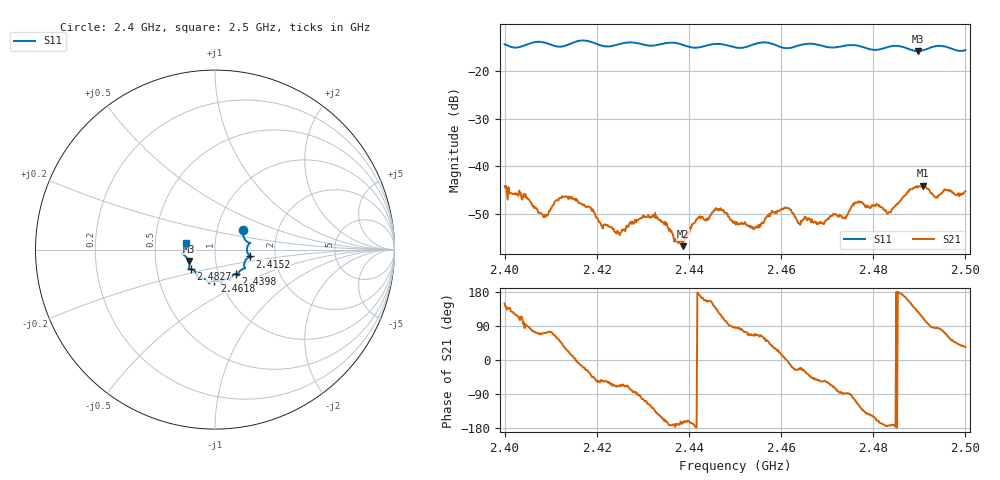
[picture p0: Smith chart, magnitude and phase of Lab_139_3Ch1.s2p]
# Hz S RI R 50
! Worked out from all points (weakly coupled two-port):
!   601 points, 2.4 GHz to 2.5 GHz, reference 50 ohm
!   highest |S21| = -44.03 dB at 2.4908 GHz (marker M1); lowest = -56.6 dB at 2.4387 GHz (marker M2)
!   lowest |S11| = -15.9 dB at 2.4897 GHz (marker M3), VSWR 1.38, Z = 36.9 - j4.82 ohm
!   |S11| at or under -10 dB: start of sweep to end of sweep
!   S12 and S22 are empty: the file has one direction only
!   S11 on the Smith chart (normalised r, x): 2.4 GHz: 1.33, +0.30; 2.4152 GHz: 1.48, -0.12; 2.4398 GHz: 1.21, -0.34; 2.4618 GHz: 0.94, -0.33; 2.4827 GHz: 0.75, -0.17; 2.5 GHz: 0.72, +0.06
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2.4e9  0.1549 0.1071  -0.00534 0.0032  0 0  0 0
2.408833e9  0.1927 0.0349  0.00096 0.00281  0 0  0 0
2.412333e9  0.178 -0.00525  0.0033 0.00332  0 0  0 0
2.415167e9  0.195 -0.0382  0.00459 0.000322  0 0  0 0
2.416667e9  0.2022 -0.0429  0.00397 -0.00101  0 0  0 0
2.4245e9  0.1633 -0.0922  0.000767 -0.00199  0 0  0 0
2.433333e9  0.1307 -0.1334  -0.00229 -0.00165  0 0  0 0
2.438667e9  0.1252 -0.1378  -0.00142 -0.000408  0 0  0 0
2.439833e9  0.1157 -0.1359  -0.00186 -0.000686  0 0  0 0
2.446e9  0.0852 -0.1706  -0.00246 0.00264  0 0  0 0
2.45e9  0.0654 -0.1628  0.000137 0.00257  0 0  0 0
2.4545e9  0.0354 -0.1879  0.000941 0.00214  0 0  0 0
2.461833e9  -0.00298 -0.1725  0.00354 -0.000638  0 0  0 0
2.466667e9  -0.0344 -0.1881  0.00194 -0.00202  0 0  0 0
2.473833e9  -0.087 -0.1604  8.7e-05 -0.00294  0 0  0 0
2.476667e9  -0.0958 -0.1552  -0.00185 -0.00377  0 0  0 0
2.482667e9  -0.135 -0.1093  -0.00347 -0.000381  0 0  0 0
2.483333e9  -0.1403 -0.1087  -0.00328 -0.000437  0 0  0 0
2.489667e9  -0.1468 -0.0636  -0.00376 0.00475  0 0  0 0
2.490833e9  -0.156 -0.0473  -0.00227 0.00586  0 0  0 0
2.4935e9  -0.1787 -0.0248  0.000489 0.00474  0 0  0 0
2.5e9  -0.1594 0.0387  0.00455 0.00309  0 0  0 0
